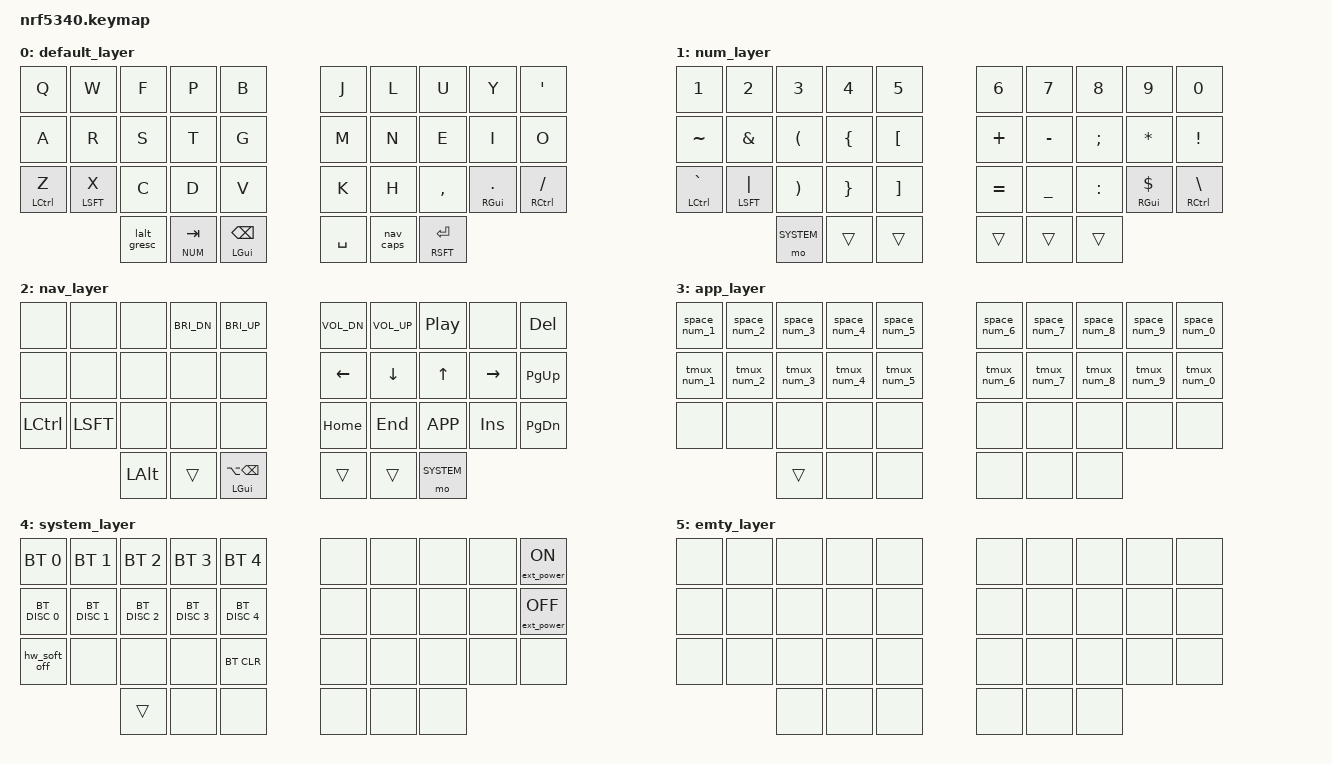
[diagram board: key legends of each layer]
/*
 * Copyright (c) 2020 The ZMK Contributors
 *
 * SPDX-License-Identifier: MIT
 */

#include <behaviors.dtsi>
#include <dt-bindings/zmk/keys.h>
#include <dt-bindings/zmk/bt.h>
#include <dt-bindings/zmk/ext_power.h>

#define DEFAULT 0
#define NUM     1
#define NAV     2
#define APP     3
#define SYSTEM  4

&caps_word {
  continue-list = <UNDERSCORE MINUS BACKSPACE DELETE>;
};

&mt {
  quick-tap-ms = <200>;
};

#define str(x) #x

#define SPACE_NUM(num) \
  space_num_##num: space_num_##num { \
    compatible = "zmk,behavior-macro"; \
    \#binding-cells = <0>; \
    bindings = <&macro_tap &kp SPACE &kp N##num>; \
  };

#define TMUX_NUM(num) \
  tmux_num_##num: tmux_num_##num { \
    compatible = "zmk,behavior-macro"; \
    \#binding-cells = <0>; \
    bindings = <&macro_press &kp LCTRL> \
             , <&macro_tap &kp S> \
             , <&macro_release &kp LCTRL> \
             , <&macro_tap &kp N##num>; \
  };

/ {
  macros {
    SPACE_NUM(0)
    SPACE_NUM(1)
    SPACE_NUM(2)
    SPACE_NUM(3)
    SPACE_NUM(4)
    SPACE_NUM(5)
    SPACE_NUM(6)
    SPACE_NUM(7)
    SPACE_NUM(8)
    SPACE_NUM(9)

    TMUX_NUM(0)
    TMUX_NUM(1)
    TMUX_NUM(2)
    TMUX_NUM(3)
    TMUX_NUM(4)
    TMUX_NUM(5)
    TMUX_NUM(6)
    TMUX_NUM(7)
    TMUX_NUM(8)
    TMUX_NUM(9)
  };

  conditional_layers {
    compatible = "zmk,conditional-layers";
    tri_layer {
      if-layers = <NUM NAV>;
      then-layer = <APP>;
    };
  };

  behaviors {
    lalt_gresc: grave_escape {
      compatible = "zmk,behavior-mod-morph";
      #binding-cells = <0>;
      bindings = <&mt LALT ESC>, <&kp GRAVE>;
      mods = <(MOD_LGUI)>;
      keep-mods = <(MOD_LGUI)>;
    };

    vol_up: vol_up {
      compatible = "zmk,behavior-mod-morph";
      #binding-cells = <0>;
      bindings = <&kp C_VOL_UP>, <&kp C_BRI_UP>;
      mods = <(MOD_LGUI|MOD_LSFT|MOD_RGUI|MOD_RSFT|MOD_LALT|MOD_RALT)>;
      keep-mods = <(MOD_RSFT)>;
    };

    vol_dn: vol_dn {
      compatible = "zmk,behavior-mod-morph";
      #binding-cells = <0>;
      bindings = <&kp C_VOL_DN>, <&kp C_BRI_DN>;
      mods = <(MOD_LGUI|MOD_LSFT|MOD_RGUI|MOD_RSFT|MOD_LALT|MOD_RALT)>;
      keep-mods = <(MOD_RSFT)>;
    };

    hm: homerow_mods {
      compatible = "zmk,behavior-hold-tap";
      #binding-cells = <2>;
      tapping-term-ms = <250>;
      quick-tap-ms = <200>;
      flavor = "tap-preferred";
      bindings = <&kp>, <&kp>;
    };

    sftent: sftent {
      compatible = "zmk,behavior-hold-tap";
      #binding-cells = <2>;
      tapping-term-ms = <150>;
      quick-tap-ms = <75>;
      flavor = "hold-preferred";
      bindings = <&kp>, <&kp>;
    };

    hmt: homerow_mods_no_quicktap {
      compatible = "zmk,behavior-hold-tap";
      #binding-cells = <2>;
      tapping-term-ms = <200>;
      quick-tap-ms = <75>;
      require-prior-idle-ms = <75>;
      flavor = "balanced";
      bindings = <&kp>, <&kp>;
    };

    lhp: layer_hold_prefered {
      compatible = "zmk,behavior-hold-tap";
      #binding-cells = <2>;
      tapping-term-ms = <150>;
      flavor = "hold-preferred";
      bindings = <&mo>, <&kp>;
    };

    nav_caps: nav_caps {
      compatible = "zmk,behavior-tap-dance";
      #binding-cells = <0>;
      tapping-term-ms = <200>;
      bindings = <&mo NAV>, <&caps_word>, <&kp CAPS>;
    };

    hw_soft_off: hw_soft_off {
      compatible = "zmk,behavior-soft-off";
      #binding-cells = <0>;
      hold-time-ms = <5000>;
    };
  };

  /*combos {
    compatible = "zmk,combos";

    #define COMBO(NAME, BINDINGS, KEYPOS, LAYERS) \
      combo_##NAME { \
        bindings = <BINDINGS>; \
        key-positions = <KEYPOS>; \
        layers = <LAYERS>; \
      };

    //  ╭─────────────────────╮          ╭─────────────────────╮
    //  │   0   1   2   3   4 │          │  5   6   7   8  10  │
    //  │  11  12  13  14  15 │          │ 15  16  17  18  19  │
    //  │  20  21  22  23  24 ╰───╮  ╭───╯ 25  26  27  28  29  │
    //  ╰────────────╮ 30  31  32 │  │ 33  34  35 ╭────────────╯
    //               ╰────────────╯  ╰────────────╯

    // COMBO(caps_word, &caps_word, 30 33, DEFAULT)
  };*/

  keymap {
    compatible = "zmk,keymap";

    default_layer {
      bindings = <
   &kp Q            &kp W            &kp F            &kp P            &kp B                    &kp J            &kp L            &kp U            &kp Y            &kp SQT
   &kp A            &kp R            &kp S            &kp T            &kp G                    &kp M            &kp N            &kp E            &kp I            &kp O
   &hm LCTRL Z      &hm LSFT X       &kp C            &kp D            &kp V                    &kp K            &kp H            &kp COMMA        &hm RGUI DOT     &hmt RCTRL FSLH
                                     &lalt_gresc      &lhp NUM TAB     &mt LGUI BSPC            &kp SPACE        &nav_caps        &sftent RSFT RET
      >;
    };

    num_layer {
      bindings = <
   &kp N1           &kp N2           &kp N3           &kp N4           &kp N5                   &kp N6           &kp N7           &kp N8           &kp N9           &kp N0
   &kp TILDE        &kp AMPS         &kp LPAR         &kp LBRC         &kp LBKT                 &kp PLUS         &kp MINUS        &kp SEMI         &kp STAR         &kp EXCL
   &hm LCTRL GRAVE  &hm LSFT PIPE    &kp RPAR         &kp RBRC         &kp RBKT                 &kp EQUAL        &kp UNDER        &kp COLON        &hm RGUI DLLR    &hmt RCTRL BSLH
                                     &mo SYSTEM       &trans           &trans                   &trans           &trans           &trans
      >;
    };

    nav_layer {
      bindings = <
   &none            &none            &none            &kp C_BRI_DN     &kp C_BRI_UP             &kp C_VOL_DN     &kp C_VOL_UP     &kp C_PP         &none            &kp DEL
   &none            &none            &none            &none            &none                    &kp LEFT         &kp DOWN         &kp UP           &kp RIGHT        &kp PG_UP
   &kp LCTRL        &kp LSFT         &none            &none            &none                    &kp HOME         &kp END          &kp K_APP        &kp INS          &kp PG_DN
                                     &kp LALT         &trans           &mt LGUI LA(BSPC)        &trans           &trans           &mo SYSTEM
      >;
    };

    app_layer {
      bindings = <
   &space_num_1     &space_num_2     &space_num_3     &space_num_4     &space_num_5             &space_num_6     &space_num_7     &space_num_8     &space_num_9     &space_num_0
   &tmux_num_1      &tmux_num_2      &tmux_num_3      &tmux_num_4      &tmux_num_5              &tmux_num_6      &tmux_num_7      &tmux_num_8      &tmux_num_9      &tmux_num_0
   &none            &none            &none            &none            &none                    &none            &none            &none            &none            &none
 //&kp F1           &kp F2           &kp F3           &kp F4           &kp F5                   &kp F6           &kp F7           &kp F8           &kp F9           &kp F10
                                     &trans           &none            &none                    &none            &none            &none
      >;
    };

    system_layer {
      bindings = <
   &bt BT_SEL 0     &bt BT_SEL 1     &bt BT_SEL 2     &bt BT_SEL 3     &bt BT_SEL 4             &none            &none            &none            &none            &ext_power EP_ON
   &bt BT_DISC 0    &bt BT_DISC 1    &bt BT_DISC 2    &bt BT_DISC 3    &bt BT_DISC 4            &none            &none            &none            &none            &ext_power EP_OFF
   &hw_soft_off     &none            &none            &none            &bt BT_CLR               &none            &none            &none            &none            &none
                                     &trans           &none            &none                    &none            &none            &none
      >;
    };

    emty_layer {
      bindings = <
   &none            &none            &none            &none            &none                    &none            &none            &none            &none            &none
   &none            &none            &none            &none            &none                    &none            &none            &none            &none            &none
   &none            &none            &none            &none            &none                    &none            &none            &none            &none            &none
                                     &none            &none            &none                    &none            &none            &none
      >;
    };

  };
};
